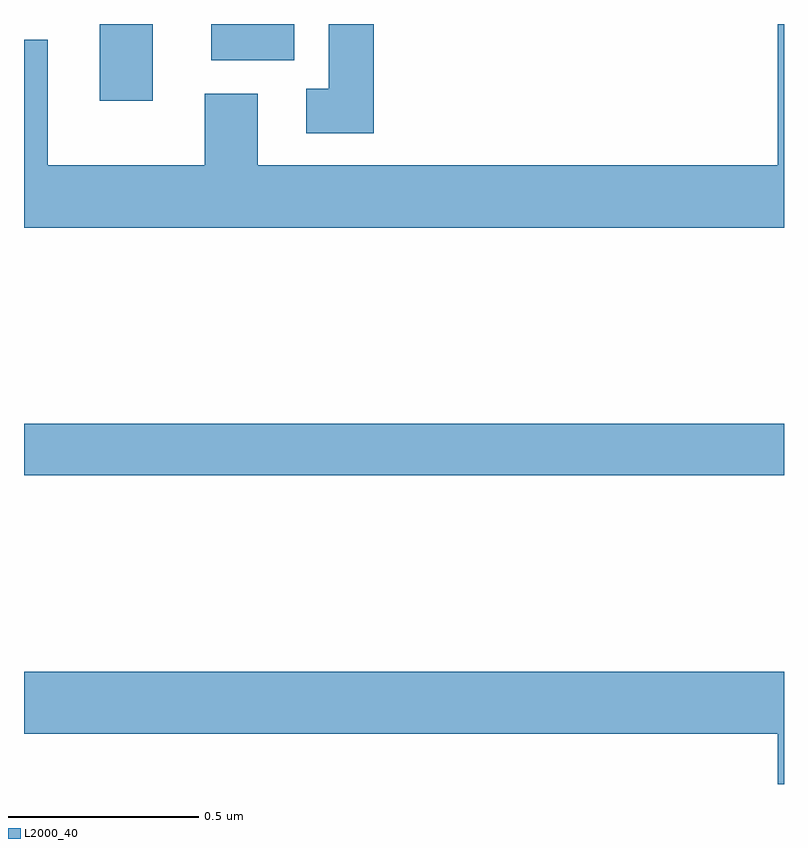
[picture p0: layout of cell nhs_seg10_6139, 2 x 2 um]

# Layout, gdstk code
import gdstk
lib = gdstk.Library(unit=1e-6, precision=1e-09)
def R(c, l, rs):  # rectangles x0, y0, x1, y1
    for r in rs: c.add(gdstk.rectangle(r[:2], r[2:], *l))
def P(c, l, *ps):  # polygons
    for p in ps: c.add(gdstk.Polygon(p, *l))
L2000_40 = (2000, 40)

nhs_seg10_6139 = lib.new_cell('nhs_seg10_6139')
R(nhs_seg10_6139, L2000_40, [(187,1318.312,189,1318.448), (187.199,1319.298,187.339,1319.5), (187.493,1319.405,187.711,1319.5)])
P(nhs_seg10_6139, L2000_40, [(189,1319.5),(188.984,1319.5),(188.984,1319.128),(187.615,1319.128),(187.615,1319.317),(187.475,1319.317),(187.475,1319.128),(187.063,1319.128),(187.063,1319.458),(187,1319.458),(187,1318.964),(189,1318.964)],
  [(187.921,1319.5),(187.802,1319.5),(187.802,1319.33),(187.743,1319.33),(187.743,1319.213),(187.921,1319.213)],
  [(189,1317.796),(187,1317.796),(187,1317.632),(188.984,1317.632),(188.984,1317.5),(189,1317.5)])

lib.write_gds('nhs_seg10_6139.gds')
